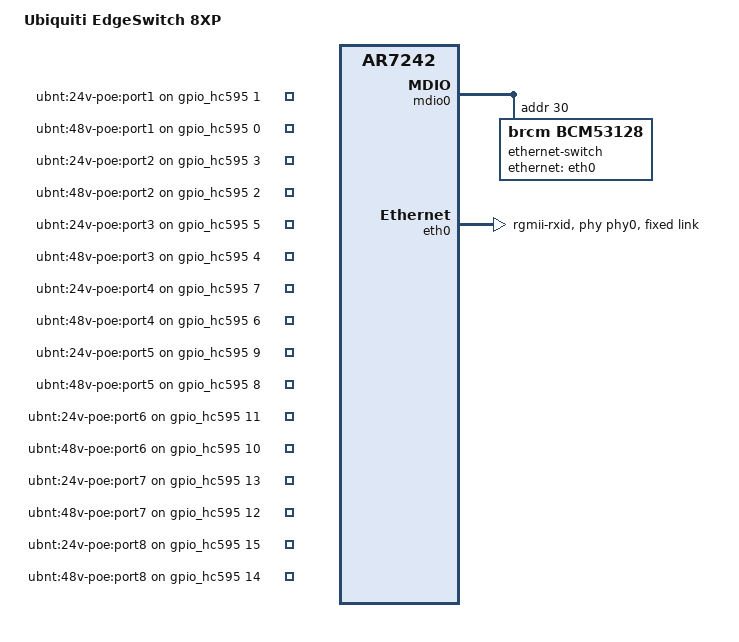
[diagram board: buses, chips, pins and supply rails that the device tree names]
// SPDX-License-Identifier: GPL-2.0-or-later OR MIT
/dts-v1/;

#include "ar7242_ubnt_sw.dtsi"

/ {
	compatible = "ubnt,edgeswitch-8xp", "qca,ar7242";
	model = "Ubiquiti EdgeSwitch 8XP";

	gpio-export {
		compatible = "gpio-export";

		poe_24v_port1 {
			gpio-export,name = "ubnt:24v-poe:port1";
			gpio-export,output = <0>;
			gpios = <&gpio_hc595 1 GPIO_ACTIVE_HIGH>;
		};

		poe_48v_port1 {
			gpio-export,name = "ubnt:48v-poe:port1";
			gpio-export,output = <0>;
			gpios = <&gpio_hc595 0 GPIO_ACTIVE_HIGH>;
		};

		poe_24v_port2 {
			gpio-export,name = "ubnt:24v-poe:port2";
			gpio-export,output = <0>;
			gpios = <&gpio_hc595 3 GPIO_ACTIVE_HIGH>;
		};

		poe_48v_port2 {
			gpio-export,name = "ubnt:48v-poe:port2";
			gpio-export,output = <0>;
			gpios = <&gpio_hc595 2 GPIO_ACTIVE_HIGH>;
		};

		poe_24v_port3 {
			gpio-export,name = "ubnt:24v-poe:port3";
			gpio-export,output = <0>;
			gpios = <&gpio_hc595 5 GPIO_ACTIVE_HIGH>;
		};

		poe_48v_port3 {
			gpio-export,name = "ubnt:48v-poe:port3";
			gpio-export,output = <0>;
			gpios = <&gpio_hc595 4 GPIO_ACTIVE_HIGH>;
		};

		poe_24v_port4 {
			gpio-export,name = "ubnt:24v-poe:port4";
			gpio-export,output = <0>;
			gpios = <&gpio_hc595 7 GPIO_ACTIVE_HIGH>;
		};

		poe_48v_port4 {
			gpio-export,name = "ubnt:48v-poe:port4";
			gpio-export,output = <0>;
			gpios = <&gpio_hc595 6 GPIO_ACTIVE_HIGH>;
		};

		poe_24v_port5 {
			gpio-export,name = "ubnt:24v-poe:port5";
			gpio-export,output = <0>;
			gpios = <&gpio_hc595 9 GPIO_ACTIVE_HIGH>;
		};

		poe_48v_port5 {
			gpio-export,name = "ubnt:48v-poe:port5";
			gpio-export,output = <0>;
			gpios = <&gpio_hc595 8 GPIO_ACTIVE_HIGH>;
		};

		poe_24v_port6 {
			gpio-export,name = "ubnt:24v-poe:port6";
			gpio-export,output = <0>;
			gpios = <&gpio_hc595 11 GPIO_ACTIVE_HIGH>;
		};

		poe_48v_port6 {
			gpio-export,name = "ubnt:48v-poe:port6";
			gpio-export,output = <0>;
			gpios = <&gpio_hc595 10 GPIO_ACTIVE_HIGH>;
		};

		poe_24v_port7 {
			gpio-export,name = "ubnt:24v-poe:port7";
			gpio-export,output = <0>;
			gpios = <&gpio_hc595 13 GPIO_ACTIVE_HIGH>;
		};

		poe_48v_port7 {
			gpio-export,name = "ubnt:48v-poe:port7";
			gpio-export,output = <0>;
			gpios = <&gpio_hc595 12 GPIO_ACTIVE_HIGH>;
		};

		poe_24v_port8 {
			gpio-export,name = "ubnt:24v-poe:port8";
			gpio-export,output = <0>;
			gpios = <&gpio_hc595 15 GPIO_ACTIVE_HIGH>;
		};

		poe_48v_port8 {
			gpio-export,name = "ubnt:48v-poe:port8";
			gpio-export,output = <0>;
			gpios = <&gpio_hc595 14 GPIO_ACTIVE_HIGH>;
		};
	};
};

&mdio0 {
	status = "okay";

	phy-mask = <0x10>;

	ethernet-switch@1e {
		compatible = "brcm,bcm53128";
		#address-cells = <1>;
		#size-cells = <0>;
		reg = <0x1e>;

		ports {
			port0@0 {
				reg = <0>;
				label = "lan1";
			};

			port1@1 {
				reg = <1>;
				label = "lan2";
			};

			port2@2 {
				reg = <2>;
				label = "lan3";
			};

			port3@3 {
				reg = <3>;
				label = "lan4";
			};

			port4@4 {
				reg = <4>;
				label = "lan5";
			};

			port5@5 {
				reg = <5>;
				label = "lan6";
			};

			port6@6 {
				reg = <6>;
				label = "lan7";
			};

			port7@7 {
				reg = <7>;
				label = "lan8";
			};

			phy0: port8@8 {
				reg = <8>;
				label = "cpu";
				ethernet = <&eth0>;

				fixed-link {
					speed = <1000>;
					full-duplex;
				};
			};

		};
	};
};

&eth0 {
	status = "okay";

	phy-mode = "rgmii-rxid";
	pll-data = <0x16000000 0x00000101 0x00001313>;
	mtd-mac-address = <&art 0x0>;

	phy-handle = <&phy0>;
	fixed-link {
		speed = <1000>;
		full-duplex;
	};
};
